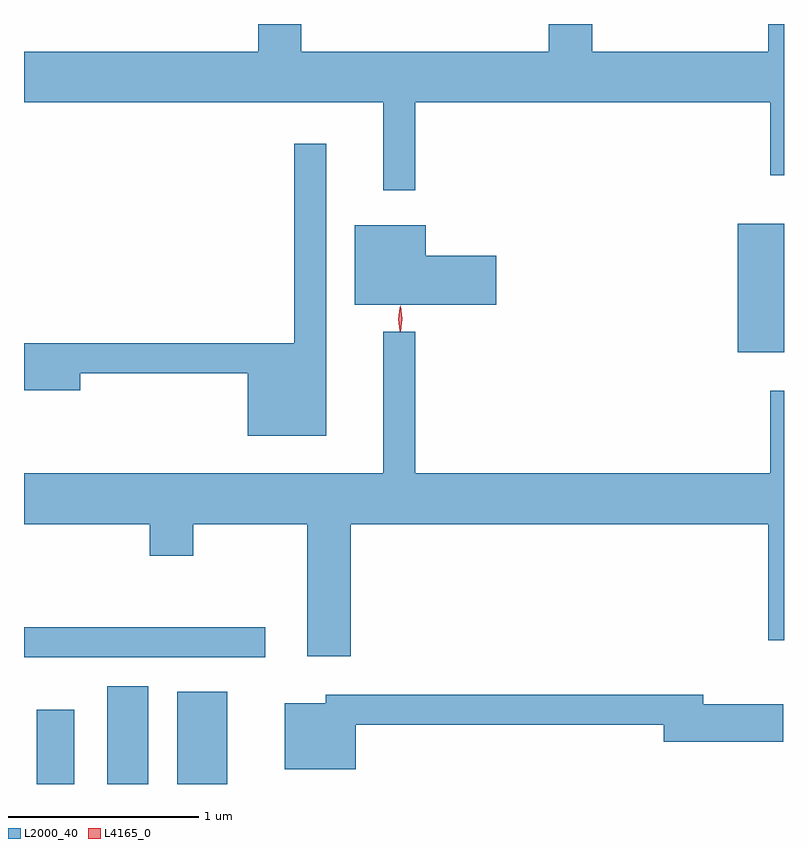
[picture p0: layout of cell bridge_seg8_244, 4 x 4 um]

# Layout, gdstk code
import gdstk
lib = gdstk.Library(unit=1e-6, precision=1e-09)
def R(c, l, rs):  # rectangles x0, y0, x1, y1
    for r in rs: c.add(gdstk.rectangle(r[:2], r[2:], *l))
def P(c, l, *ps):  # polygons
    for p in ps: c.add(gdstk.Polygon(p, *l))
L2000_40 = (2000, 40)
L4165_0 = (4165, 0)

bridge_seg8_244 = lib.new_cell('bridge_seg8_244')
R(bridge_seg8_244, L2000_40, [(1050.386,1828.389,1050.584,1828.779), (1050.756,1828.389,1050.974,1828.904), (1051.126,1828.389,1051.389,1828.874), (1050.319,1829.056,1051.588,1829.214), (1054.076,1830.661,1054.319,1831.339)])
P(bridge_seg8_244, L2000_40, [(1052.379,1831.976),(1054.246,1831.976),(1054.246,1831.593),(1054.319,1831.593),(1054.319,1832.389),(1054.236,1832.389),(1054.236,1832.244),(1053.309,1832.244),(1053.309,1832.389),(1053.081,1832.389),(1053.081,1832.244),(1051.779,1832.244),(1051.779,1832.389),(1051.551,1832.389),(1051.551,1832.244),(1050.319,1832.244),(1050.319,1831.976),(1052.211,1831.976),(1052.211,1831.513),(1052.379,1831.513)],
  [(1051.909,1831.758),(1051.741,1831.758),(1051.741,1830.709),(1050.319,1830.709),(1050.319,1830.461),(1050.614,1830.461),(1050.614,1830.551),(1051.496,1830.551),(1051.496,1830.221),(1051.909,1830.221)],
  [(1052.804,1831.169),(1052.434,1831.169),(1052.434,1831.329),(1052.061,1831.329),(1052.061,1830.911),(1052.804,1830.911)],
  [(1052.039,1829.756),(1054.236,1829.756),(1054.236,1829.146),(1054.319,1829.146),(1054.319,1830.458),(1054.246,1830.458),(1054.246,1830.024),(1052.379,1830.024),(1052.379,1830.768),(1052.211,1830.768),(1052.211,1830.024),(1050.319,1830.024),(1050.319,1829.756),(1050.981,1829.756),(1050.981,1829.591),(1051.209,1829.591),(1051.209,1829.756),(1051.811,1829.756),(1051.811,1829.061),(1052.039,1829.061)],
  [(1052.064,1828.701),(1053.686,1828.701),(1053.686,1828.611),(1054.314,1828.611),(1054.314,1828.809),(1053.894,1828.809),(1053.894,1828.859),(1051.906,1828.859),(1051.906,1828.814),(1051.691,1828.814),(1051.691,1828.466),(1052.064,1828.466)])
P(bridge_seg8_244, L4165_0, [(1052.3,1830.77),(1052.3,1830.77),(1052.291,1830.838),(1052.302,1830.905),(1052.302,1830.906),(1052.302,1830.905),(1052.311,1830.838),(1052.301,1830.77)],
  [(1052.297,1830.773),(1052.288,1830.836),(1052.297,1830.899),(1052.298,1830.9),(1052.298,1830.899),(1052.308,1830.836),(1052.298,1830.773),(1052.298,1830.773)])

lib.write_gds('bridge_seg8_244.gds')
